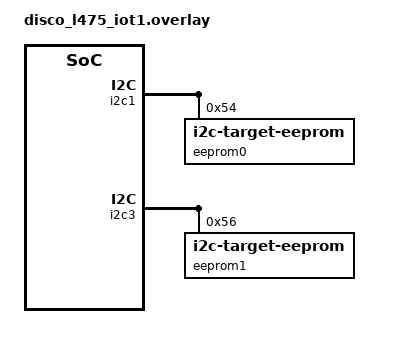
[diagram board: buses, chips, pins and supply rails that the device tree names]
/*
 * Copyright (c) 2026 STMicroelectronics
 *
 * SPDX-License-Identifier: Apache-2.0
 */

/* I2C bus pins are exposed on the STMod+.
 *
 *  Bus        SDA               SCL
 *          Pin   Hdr         Pin   Hdr
 *  i2c1    PB9   CN1:9      PB8  CN1:10
 *  i2c3    PC1   CN4:5      PC0  CN4:6
 *
 * Short Pin PB9 to PC1, and PB8 to PC0, for the test to pass.
 */

&i2c1 {
	dmas = <&dma1 6 3 (STM32_DMA_PERIPH_TX | STM32_DMA_PRIORITY_HIGH)>,
	       <&dma1 7 3 (STM32_DMA_PERIPH_RX | STM32_DMA_PRIORITY_HIGH)>;
	dma-names = "tx", "rx";

	eeprom0: eeprom@54 {
		compatible = "zephyr,i2c-target-eeprom";
		reg = <0x54>;
		size = <256>;
	};
};

&i2c3 {
	dmas = <&dma1 2 3 (STM32_DMA_PERIPH_TX | STM32_DMA_PRIORITY_HIGH)>,
	       <&dma1 3 3 (STM32_DMA_PERIPH_RX | STM32_DMA_PRIORITY_HIGH)>;
	dma-names = "tx", "rx";

	eeprom1: eeprom@56 {
		compatible = "zephyr,i2c-target-eeprom";
		reg = <0x56>;
		size = <256>;
	};
};
